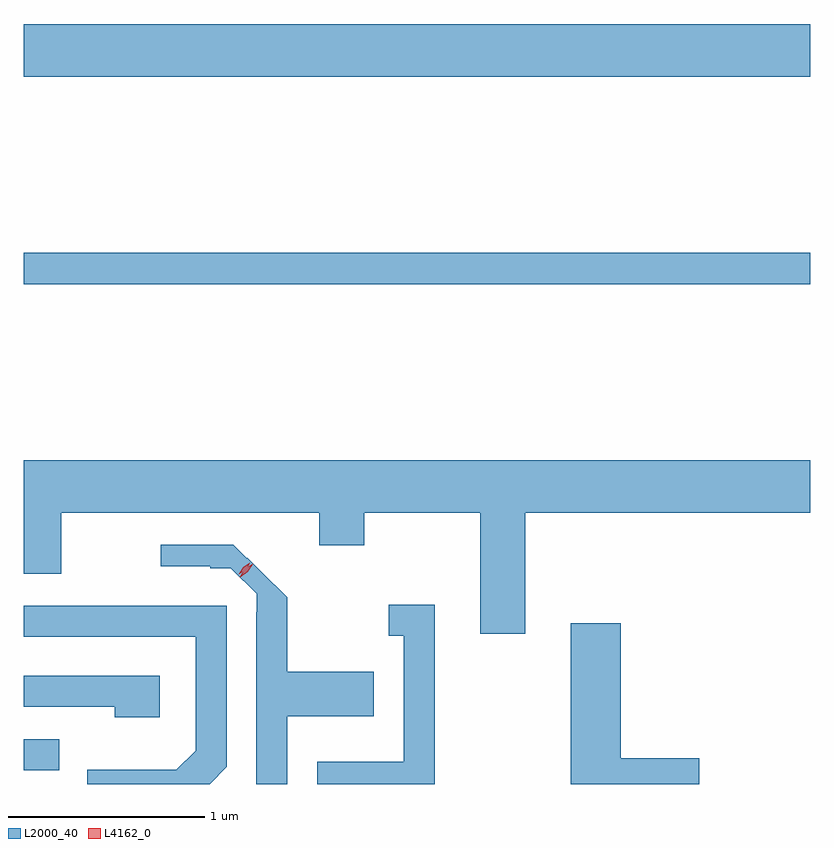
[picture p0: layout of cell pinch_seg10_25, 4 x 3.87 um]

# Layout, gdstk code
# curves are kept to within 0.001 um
import gdstk
lib = gdstk.Library(unit=1e-6, precision=1e-09)
def R(c, l, rs):  # rectangles x0, y0, x1, y1
    for r in rs: c.add(gdstk.rectangle(r[:2], r[2:], *l))
def P(c, l, *ps):  # polygons
    for p in ps: c.add(gdstk.Polygon(p, *l))
L2000_40 = (2000, 40)
L4162_0 = (4162, 0)

pinch_seg10_25 = lib.new_cell('pinch_seg10_25')
R(pinch_seg10_25, L2000_40, [(601.328,2205.846,601.508,2206.004), (601.328,2208.321,605.328,2208.479), (601.328,2209.376,605.328,2209.644)])
P(pinch_seg10_25, L2000_40, [(603.879,2207.156),(605.328,2207.156),(605.328,2207.424),(601.328,2207.424),(601.328,2206.846),(601.519,2206.846),(601.519,2207.156),(602.831,2207.156),(602.831,2206.991),(603.059,2206.991),(603.059,2207.156),(603.651,2207.156),(603.651,2206.541),(603.879,2206.541)],
  [(602.669,2206.121),(603.109,2206.121),(603.109,2206.349),(602.669,2206.349),(602.669,2206.728),(602.605,2206.792),(602.602,2206.79),(602.465,2206.927),(602.462,2206.925),(602.393,2206.994),(602.023,2206.994),(602.023,2206.884),(602.277,2206.884),(602.277,2206.876),(602.381,2206.876),(602.512,2206.745),(602.511,2205.777),(602.669,2205.777)],
  [(603.419,2206.689),(603.183,2206.689),(603.183,2206.531),(603.261,2206.531),(603.261,2205.889),(602.821,2205.889),(602.821,2205.777),(603.419,2205.777)],
  [(602.359,2205.864),(602.359,2206.684),(601.328,2206.684),(601.328,2206.526),(602.201,2206.526),(602.201,2205.947),(602.104,2205.849),(601.651,2205.849),(601.651,2205.777),(602.273,2205.777)],
  [(604.764,2205.909),(604.364,2205.909),(604.364,2206.594),(604.111,2206.594),(604.111,2205.777),(604.764,2205.777)],
  [(602.019,2206.329),(601.328,2206.329),(601.328,2206.171),(601.791,2206.171),(601.791,2206.116),(602.019,2206.116)])
P(pinch_seg10_25, L4162_0, [(602.427,2206.829),(602.427,2206.83),(602.452,2206.87),(602.491,2206.897),(602.492,2206.897),(602.492,2206.896),(602.467,2206.856),(602.428,2206.829)],
  [(602.422,2206.843),(602.422,2206.843),(602.443,2206.879),(602.477,2206.902),(602.478,2206.902),(602.478,2206.901),(602.457,2206.865),(602.422,2206.843)])

lib.write_gds('pinch_seg10_25.gds')
